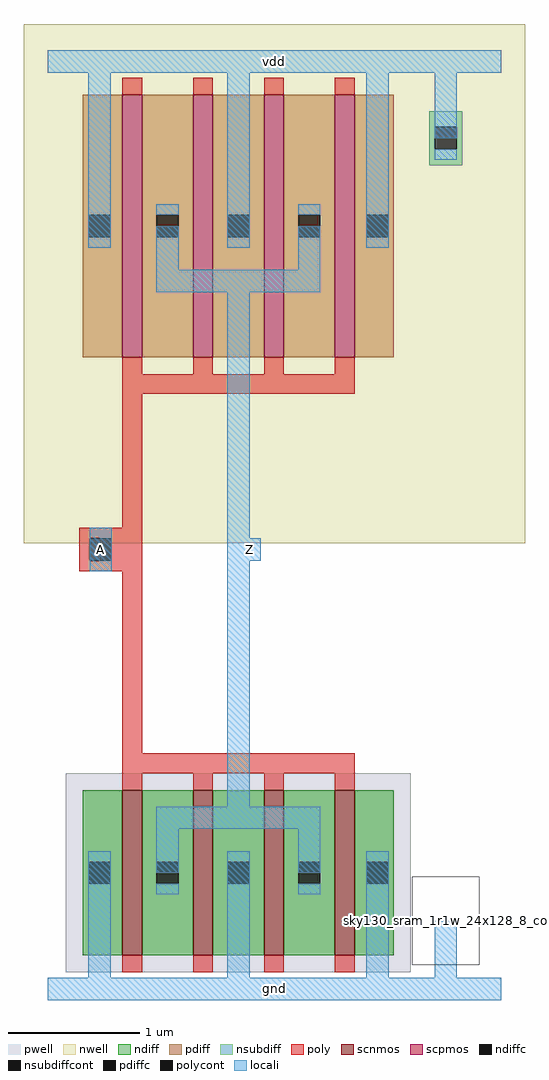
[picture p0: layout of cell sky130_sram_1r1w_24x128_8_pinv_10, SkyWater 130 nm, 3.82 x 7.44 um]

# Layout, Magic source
magic
tech sky130B
magscale 1 2
<< nwell >>
rect -36 679 728 1471
<< poly >>
rect 114 703 144 907
rect 81 637 144 703
rect 114 359 144 637
<< locali >>
rect 0 1397 692 1431
rect 62 1130 96 1397
rect 274 1130 308 1397
rect 486 1130 520 1397
rect 590 1297 624 1397
rect 64 637 98 703
rect 274 687 308 1096
rect 274 653 325 687
rect 274 244 308 653
rect 62 17 96 144
rect 274 17 308 144
rect 486 17 520 144
rect 590 17 624 104
rect 0 -17 692 17
use sky130_sram_1r1w_24x128_8_contact_15  sky130_sram_1r1w_24x128_8_contact_15_0
transform 1 0 48 0 1 637
box 0 0 66 66
use sky130_sram_1r1w_24x128_8_contact_28  sky130_sram_1r1w_24x128_8_contact_28_0
transform 1 0 582 0 1 1256
box -59 -43 109 125
use sky130_sram_1r1w_24x128_8_contact_29  sky130_sram_1r1w_24x128_8_contact_29_0
transform 1 0 582 0 1 63
box -26 -26 76 108
use sky130_sram_1r1w_24x128_8_nmos_m4_w1_260_sli_dli_da_p  sky130_sram_1r1w_24x128_8_nmos_m4_w1_260_sli_dli_da_p_0
transform 1 0 54 0 1 51
box -26 -26 500 308
use sky130_sram_1r1w_24x128_8_pmos_m4_w2_000_sli_dli_da_p  sky130_sram_1r1w_24x128_8_pmos_m4_w2_000_sli_dli_da_p_0
transform 1 0 54 0 1 963
box -59 -56 533 454
<< labels >>
rlabel locali s 81 670 81 670 4 A
port 1 nsew
rlabel locali s 308 670 308 670 4 Z
port 2 nsew
rlabel locali s 346 0 346 0 4 gnd
port 3 nsew
rlabel locali s 346 1414 346 1414 4 vdd
port 4 nsew
<< properties >>
string FIXED_BBOX 0 0 692 1414
<< end >>

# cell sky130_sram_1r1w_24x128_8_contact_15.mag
magic
tech sky130B
<< poly >>
rect 0 25 33 33
rect 0 8 8 25
rect 25 8 33 25
rect 0 0 33 8
<< polycont >>
rect 8 8 25 25
<< locali >>
rect 8 25 25 33
rect 8 0 25 8
<< properties >>
string FIXED_BBOX -10 -10 43 43
<< end >>

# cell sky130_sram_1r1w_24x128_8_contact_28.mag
magic
tech sky130B
magscale 1 2
<< nwell >>
rect -59 -43 109 125
<< nsubdiff >>
rect 0 58 50 82
rect 0 24 8 58
rect 42 24 50 58
rect 0 0 50 24
<< nsubdiffcont >>
rect 8 24 42 58
<< locali >>
rect 8 58 42 74
rect 8 8 42 24
<< properties >>
string FIXED_BBOX -59 -43 109 125
<< end >>

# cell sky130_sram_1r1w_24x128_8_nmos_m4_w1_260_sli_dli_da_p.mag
magic
tech sky130B
magscale 1 2
<< pwell >>
rect -26 -26 500 278
<< scnmos >>
rect 60 0 90 252
rect 168 0 198 252
rect 276 0 306 252
rect 384 0 414 252
<< ndiff >>
rect 0 0 60 252
rect 90 0 168 252
rect 198 0 276 252
rect 306 0 384 252
rect 414 0 474 252
<< poly >>
rect 60 278 414 308
rect 60 252 90 278
rect 168 252 198 278
rect 276 252 306 278
rect 384 252 414 278
rect 60 -26 90 0
rect 168 -26 198 0
rect 276 -26 306 0
rect 384 -26 414 0
<< locali >>
rect 112 193 362 227
rect 8 93 42 159
rect 112 126 146 193
rect 220 93 254 159
rect 328 126 362 193
rect 432 93 466 159
use sky130_sram_1r1w_24x128_8_contact_10  sky130_sram_1r1w_24x128_8_contact_10_0
transform 1 0 424 0 1 93
box -26 -22 76 88
use sky130_sram_1r1w_24x128_8_contact_10  sky130_sram_1r1w_24x128_8_contact_10_1
transform 1 0 320 0 1 93
box -26 -22 76 88
use sky130_sram_1r1w_24x128_8_contact_10  sky130_sram_1r1w_24x128_8_contact_10_2
transform 1 0 212 0 1 93
box -26 -22 76 88
use sky130_sram_1r1w_24x128_8_contact_10  sky130_sram_1r1w_24x128_8_contact_10_3
transform 1 0 104 0 1 93
box -26 -22 76 88
use sky130_sram_1r1w_24x128_8_contact_10  sky130_sram_1r1w_24x128_8_contact_10_4
transform 1 0 0 0 1 93
box -26 -22 76 88
<< labels >>
rlabel poly s 237 293 237 293 4 G
port 1 nsew
rlabel locali s 237 126 237 126 4 S
port 2 nsew
rlabel locali s 449 126 449 126 4 S
port 2 nsew
rlabel locali s 25 126 25 126 4 S
port 2 nsew
rlabel locali s 237 210 237 210 4 D
port 3 nsew
<< properties >>
string FIXED_BBOX -25 -26 499 308
<< end >>

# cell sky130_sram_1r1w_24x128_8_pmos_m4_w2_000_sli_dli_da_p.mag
magic
tech sky130B
magscale 1 2
<< nwell >>
rect -54 -54 528 454
<< scpmos >>
rect 60 0 90 400
rect 168 0 198 400
rect 276 0 306 400
rect 384 0 414 400
<< pdiff >>
rect 0 0 60 400
rect 90 0 168 400
rect 198 0 276 400
rect 306 0 384 400
rect 414 0 474 400
<< poly >>
rect 60 400 90 426
rect 168 400 198 426
rect 276 400 306 426
rect 384 400 414 426
rect 60 -26 90 0
rect 168 -26 198 0
rect 276 -26 306 0
rect 384 -26 414 0
rect 60 -56 414 -26
<< locali >>
rect 8 167 42 233
rect 112 133 146 200
rect 220 167 254 233
rect 328 133 362 200
rect 432 167 466 233
rect 112 99 362 133
use sky130_sram_1r1w_24x128_8_contact_11  sky130_sram_1r1w_24x128_8_contact_11_0
transform 1 0 424 0 1 167
box -59 -51 109 117
use sky130_sram_1r1w_24x128_8_contact_11  sky130_sram_1r1w_24x128_8_contact_11_1
transform 1 0 320 0 1 167
box -59 -51 109 117
use sky130_sram_1r1w_24x128_8_contact_11  sky130_sram_1r1w_24x128_8_contact_11_2
transform 1 0 212 0 1 167
box -59 -51 109 117
use sky130_sram_1r1w_24x128_8_contact_11  sky130_sram_1r1w_24x128_8_contact_11_3
transform 1 0 104 0 1 167
box -59 -51 109 117
use sky130_sram_1r1w_24x128_8_contact_11  sky130_sram_1r1w_24x128_8_contact_11_4
transform 1 0 0 0 1 167
box -59 -51 109 117
<< labels >>
rlabel poly s 237 -41 237 -41 4 G
port 1 nsew
rlabel locali s 25 200 25 200 4 S
port 2 nsew
rlabel locali s 449 200 449 200 4 S
port 2 nsew
rlabel locali s 237 200 237 200 4 S
port 2 nsew
rlabel locali s 237 116 237 116 4 D
port 3 nsew
<< properties >>
string FIXED_BBOX -54 -56 528 454
<< end >>

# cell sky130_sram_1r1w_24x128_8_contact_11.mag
magic
tech sky130B
magscale 1 2
<< nwell >>
rect -59 -51 109 117
<< pdiff >>
rect 0 50 50 62
rect 0 16 8 50
rect 42 16 50 50
rect 0 4 50 16
<< pdiffc >>
rect 8 16 42 50
<< locali >>
rect 8 50 42 66
rect 8 0 42 16
<< properties >>
string FIXED_BBOX -59 -51 109 117
<< end >>

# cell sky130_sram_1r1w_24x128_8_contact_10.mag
magic
tech sky130B
<< pwell >>
rect -13 -11 38 44
<< ndiff >>
rect 0 25 25 31
rect 0 8 4 25
rect 21 8 25 25
rect 0 2 25 8
<< ndiffc >>
rect 4 8 21 25
<< locali >>
rect 4 25 21 33
rect 4 0 21 8
<< properties >>
string FIXED_BBOX -12 -10 37 43
<< end >>
